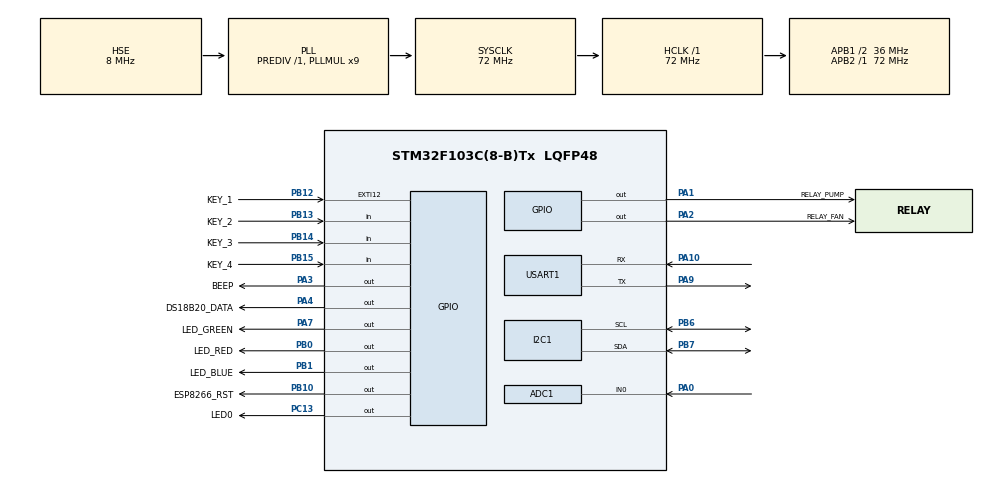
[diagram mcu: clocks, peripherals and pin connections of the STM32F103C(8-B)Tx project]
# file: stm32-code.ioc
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ADC1.Channel-0\#ChannelRegularConversion=ADC_CHANNEL_0
ADC1.NbrOfConversion=1
ADC1.NbrOfConversionFlag=1
ADC1.Rank-0\#ChannelRegularConversion=1
ADC1.SamplingTime-0\#ChannelRegularConversion=ADC_SAMPLETIME_239CYCLES_5
ADC1.master=1
Mcu.Family=STM32F1
Mcu.Name=STM32F103C(8-B)Tx
Mcu.Package=LQFP48
NVIC.EXTI15_10_IRQn=true\:0\:0\:false\:false\:true\:true\:true\:true
NVIC.PriorityGroup=NVIC_PRIORITYGROUP_4
NVIC.USART1_IRQn=true\:0\:0\:false\:false\:true\:true\:true\:true
PA0-WKUP.Signal=ADCx_IN0
PA1.GPIO_Label=RELAY_PUMP
PA1.Signal=GPIO_Output
PA10.Mode=Asynchronous
PA10.Signal=USART1_RX
PA13.Mode=Serial_Wire
PA13.Signal=SYS_JTMS-SWDIO
PA14.Mode=Serial_Wire
PA14.Signal=SYS_JTCK-SWCLK
PA2.GPIO_Label=RELAY_FAN
PA2.Signal=GPIO_Output
PA3.GPIO_Label=BEEP
PA3.Signal=GPIO_Output
PA4.GPIO_Label=DS18B20_DATA
PA4.GPIO_ModeDefaultOutputPP=GPIO_MODE_OUTPUT_OD
PA4.GPIO_PuPd=GPIO_NOPULL
PA4.GPIO_Speed=GPIO_SPEED_FREQ_HIGH
PA4.PinState=GPIO_PIN_SET
PA4.Signal=GPIO_Output
PA7.GPIO_Label=LED_GREEN
PA7.Signal=GPIO_Output
PA9.Mode=Asynchronous
PA9.Signal=USART1_TX
PB0.GPIO_Label=LED_RED
PB0.Signal=GPIO_Output
PB1.GPIO_Label=LED_BLUE
PB1.GPIO_ModeDefaultOutputPP=GPIO_MODE_OUTPUT_PP
PB1.GPIO_PuPd=GPIO_NOPULL
PB1.Signal=GPIO_Output
PB10.GPIO_Label=ESP8266_RST
PB10.Signal=GPIO_Output
PB12.GPIO_Label=KEY_1
PB12.GPIO_ModeDefaultEXTI=GPIO_MODE_IT_FALLING
PB12.GPIO_PuPd=GPIO_PULLUP
PB12.Signal=GPXTI12
PB13.GPIO_Label=KEY_2
PB13.GPIO_PuPd=GPIO_PULLUP
PB13.Signal=GPIO_Input
PB14.GPIO_Label=KEY_3
PB14.GPIO_PuPd=GPIO_PULLUP
PB14.Signal=GPIO_Input
PB15.GPIO_Label=KEY_4
PB15.GPIO_PuPd=GPIO_PULLUP
PB15.Signal=GPIO_Input
PB6.Mode=I2C
PB6.Signal=I2C1_SCL
PB7.Mode=I2C
PB7.Signal=I2C1_SDA
PC13-TAMPER-RTC.GPIO_Label=LED0
PC13-TAMPER-RTC.GPIO_ModeDefaultOutputPP=GPIO_MODE_OUTPUT_OD
PC13-TAMPER-RTC.GPIO_PuPd=GPIO_NOPULL
PC13-TAMPER-RTC.PinState=GPIO_PIN_SET
PC13-TAMPER-RTC.Signal=GPIO_Output
PD0-OSC_IN.Mode=HSE-External-Oscillator
PD0-OSC_IN.Signal=RCC_OSC_IN
PD1-OSC_OUT.Mode=HSE-External-Oscillator
PD1-OSC_OUT.Signal=RCC_OSC_OUT
ProjectManager.HeapSize=0x200
ProjectManager.StackSize=0x400
ProjectManager.TargetToolchain=CMake
RCC.ADCPresc=RCC_ADCPCLK2_DIV6
RCC.AHBFreq_Value=72000000
RCC.APB1CLKDivider=RCC_HCLK_DIV2
RCC.APB1Freq_Value=36000000
RCC.APB1TimFreq_Value=72000000
RCC.APB2Freq_Value=72000000
RCC.APB2TimFreq_Value=72000000
RCC.HCLKFreq_Value=72000000
RCC.PLLMUL=RCC_PLL_MUL9
RCC.PLLSourceVirtual=RCC_PLLSOURCE_HSE
RCC.SYSCLKFreq_VALUE=72000000
RCC.SYSCLKSource=RCC_SYSCLKSOURCE_PLLCLK
RCC.USBFreq_Value=72000000
SH.ADCx_IN0.0=ADC1_IN0,IN0
USART1.VirtualMode=VM_ASYNC
board=custom

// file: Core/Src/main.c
/* USER CODE BEGIN Header */
/**
  ******************************************************************************
  * @file           : main.cvscode-terminal:/50350b80899ab187251f43e02e783d95/3
  * @brief          : Main program body
  ******************************************************************************
  * @attention
  *
  * Copyright (c) 2026 STMicroelectronics.
  * All rights reserved.
  *
  * This software is licensed under terms that can be found in the LICENSE file
  * in the root directory of this software component.
  * If no LICENSE file comes with this software, it is provided AS-IS.
  *
  ******************************************************************************
  */
/* USER CODE END Header */
#include "main.h"
#include "adc.h"
#include "i2c.h"
#include "usart.h"
#include "gpio.h"

/* USER CODE BEGIN Includes */
#include "led.h"
#include "key.h"
#include "relay.h"
#include "debug_uart.h"
#include "soil.h"
#include "ds18b20.h"
#include "oled.h"
#include "data_store.h"
#include "control.h"
#include "esp8266.h"
/* USER CODE END Includes */

void SystemClock_Config(void);

int main(void)
{

  /* MCU Configuration--------------------------------------------------------*/

  /* Reset of all peripherals, Initializes the Flash interface and the Systick. */
  HAL_Init();

  /* Configure the system clock */
  SystemClock_Config();

  /* Initialize all configured peripherals */
  MX_GPIO_Init();
  MX_ADC1_Init();
  MX_USART1_UART_Init();
  MX_I2C1_Init();
  /* USER CODE BEGIN 2 */
  led_init();
  key_init();
  relay_init();
  debug_uart_init();
  soil_init();
  ds18b20_init();
  oled_init();
  data_store_init();
  control_init();
  esp8266_init();
  /* USER CODE END 2 */

  /* Infinite loop */
  while (1)
  {

    /* USER CODE BEGIN 3 */
    key_scan();
    control_key_handler();
    ds18b20_task();
    control_task();
    esp8266_task();
    oled_display_task();
    data_store_task();
  }
  /* USER CODE END 3 */
}

void SystemClock_Config(void)
{
  RCC_OscInitTypeDef RCC_OscInitStruct = {0};
  RCC_ClkInitTypeDef RCC_ClkInitStruct = {0};
  RCC_PeriphCLKInitTypeDef PeriphClkInit = {0};

  /** Initializes the RCC Oscillators according to the specified parameters
  * in the RCC_OscInitTypeDef structure.
  */
  RCC_OscInitStruct.OscillatorType = RCC_OSCILLATORTYPE_HSE;
  RCC_OscInitStruct.HSEState = RCC_HSE_ON;
  RCC_OscInitStruct.HSEPredivValue = RCC_HSE_PREDIV_DIV1;
  RCC_OscInitStruct.HSIState = RCC_HSI_ON;
  RCC_OscInitStruct.PLL.PLLState = RCC_PLL_ON;
  RCC_OscInitStruct.PLL.PLLSource = RCC_PLLSOURCE_HSE;
  RCC_OscInitStruct.PLL.PLLMUL = RCC_PLL_MUL9;
  if (HAL_RCC_OscConfig(&RCC_OscInitStruct) != HAL_OK)
  {
    Error_Handler();
  }

  /** Initializes the CPU, AHB and APB buses clocks
  */
  RCC_ClkInitStruct.ClockType = RCC_CLOCKTYPE_HCLK|RCC_CLOCKTYPE_SYSCLK
                              |RCC_CLOCKTYPE_PCLK1|RCC_CLOCKTYPE_PCLK2;
  RCC_ClkInitStruct.SYSCLKSource = RCC_SYSCLKSOURCE_PLLCLK;
  RCC_ClkInitStruct.AHBCLKDivider = RCC_SYSCLK_DIV1;
  RCC_ClkInitStruct.APB1CLKDivider = RCC_HCLK_DIV2;
  RCC_ClkInitStruct.APB2CLKDivider = RCC_HCLK_DIV1;

  if (HAL_RCC_ClockConfig(&RCC_ClkInitStruct, FLASH_LATENCY_2) != HAL_OK)
  {
    Error_Handler();
  }
  PeriphClkInit.PeriphClockSelection = RCC_PERIPHCLK_ADC;
  PeriphClkInit.AdcClockSelection = RCC_ADCPCLK2_DIV6;
  if (HAL_RCCEx_PeriphCLKConfig(&PeriphClkInit) != HAL_OK)
  {
    Error_Handler();
  }
}

/* USER CODE BEGIN 4 */
void HAL_GPIO_EXTI_Callback(uint16_t GPIO_Pin)
{
  (void)GPIO_Pin;
}

void HAL_UART_RxCpltCallback(UART_HandleTypeDef *huart)
{
  if (huart->Instance == USART1)
  {
    esp8266_rx_callback();
  }
}

void HAL_UART_ErrorCallback(UART_HandleTypeDef *huart)
{
  if (huart->Instance == USART1)
  {
    esp8266_rx_callback();
  }
}

/* USER CODE END 4 */

void Error_Handler(void)
{
  __disable_irq();
  while (1)
  {
  }
}
